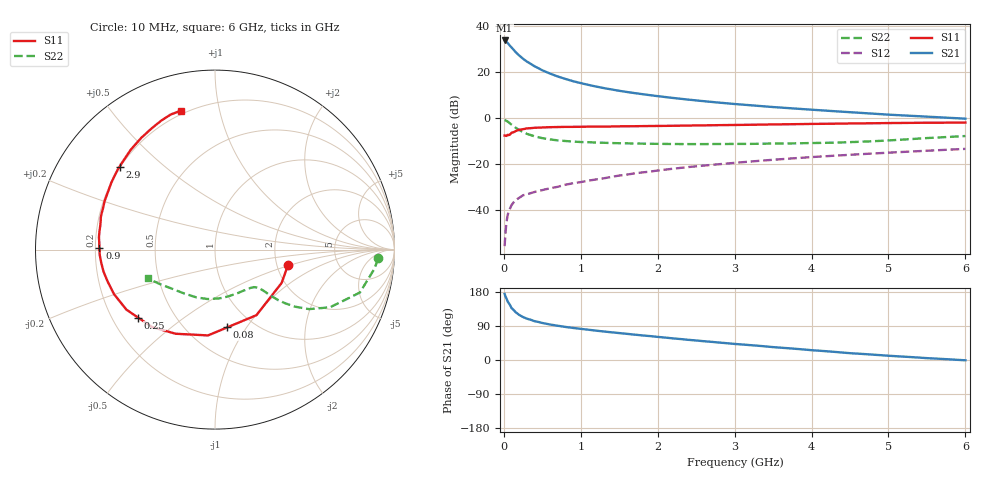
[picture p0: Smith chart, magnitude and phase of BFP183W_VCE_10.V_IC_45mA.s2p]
! Infineon Technologies  Discrete & RF Semiconductors
! BFP183W
! VCE =  10. V,  IC =  45 mA
! Common Emitter S-Parameters:  Jan 2017
# GHz  S  MA  R  50
!  f  S11  S21  S12  S22
! GHz  MAG  ANG  MAG  ANG  MAG  ANG  MAG  ANG
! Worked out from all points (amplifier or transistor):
!   77 points, 10 MHz to 6 GHz, reference 50 ohm
!   highest |S21| = 33.9 dB at 10 MHz (marker M1)
!   |S21| within 3 dB of that: start of sweep to 98.27 MHz
!   unconditionally stable (mu >= 1): start of sweep to 10.53 MHz; 855.8 MHz to 3.771 GHz
!   at 130 MHz: K = 0.43, MSG = 33.2 dB, |S12| = -36.7 dB
!   at 2.2 GHz: K = 1.11, MAG = 13.4 dB, |S12| = -22.1 dB
!   at 6 GHz: K = 0.86, MSG = 6.6 dB, |S12| = -13.4 dB
!   S11 on the Smith chart (normalised r, x): 10 MHz: 2.30, -0.47; 80 MHz: 0.77, -0.82; 250 MHz: 0.31, -0.35; 900 MHz: 0.22, +0.01; 2.9 GHz: 0.20, +0.36; 6 GHz: 0.18, +0.77
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0.01  0.4156 -11.8  49.5 174.4  0.0016 63.4  0.9112 -3.1
0.02  0.4153 -26.5  48.3 168.4  0.0029 78.8  0.8942 -6.9
0.05  0.4322 -57.7  43.61 154.2  0.0077 67.3  0.8419 -16.5
0.08  0.4385 -81.0  37.9 144.9  0.0106 62.8  0.7643 -22.2
0.1  0.4798 -94.7  34.79 137.1  0.0126 61.0  0.7175 -26.6
0.15  0.5177 -115.1  28.01 126.7  0.0161 54.0  0.6208 -32.3
0.2  0.5555 -129.0  23.23 118.9  0.0182 52.3  0.5477 -35.5
0.25  0.5722 -138.6  19.71 113.3  0.0207 50.2  0.4955 -37.3
0.3  0.5963 -145.9  17.11 109.0  0.0217 48.1  0.4529 -38.6
0.4  0.6149 -156.2  13.49 102.4  0.0244 48.8  0.3985 -39.7
0.5  0.6242 -163.5  11.04 97.7  0.0268 49.5  0.3651 -40.1
0.6  0.6331 -168.9  9.368 93.7  0.0294 51.6  0.3422 -40.6
0.7  0.6379 -173.3  8.102 90.4  0.0316 53.1  0.3261 -40.9
0.9  0.6437 179.3  6.389 84.6  0.0378 56.3  0.3073 -43.1
1.1  0.6505 173.8  5.302 79.9  0.0431 59.7  0.2976 -45.2
1.5  0.6608 164.4  3.943 71.1  0.0556 61.2  0.2827 -51.5
2.1  0.6763 152.4  2.879 59.1  0.0751 62.2  0.2728 -63.6
2.9  0.7044 139.0  2.101 44.3  0.1019 60.1  0.2723 -83.3
3.1  0.7109 136.0  1.969 40.9  0.1089 59.1  0.2731 -88.3
4.1  0.7485 122.3  1.487 24.5  0.1442 53.8  0.287 -114.1
5.1  0.781 111.7  1.165 10.0  0.1793 47.7  0.3325 -140.5
6  0.7972 103.7  0.971 -0.8  0.2127 41.3  0.4058 -156.7
